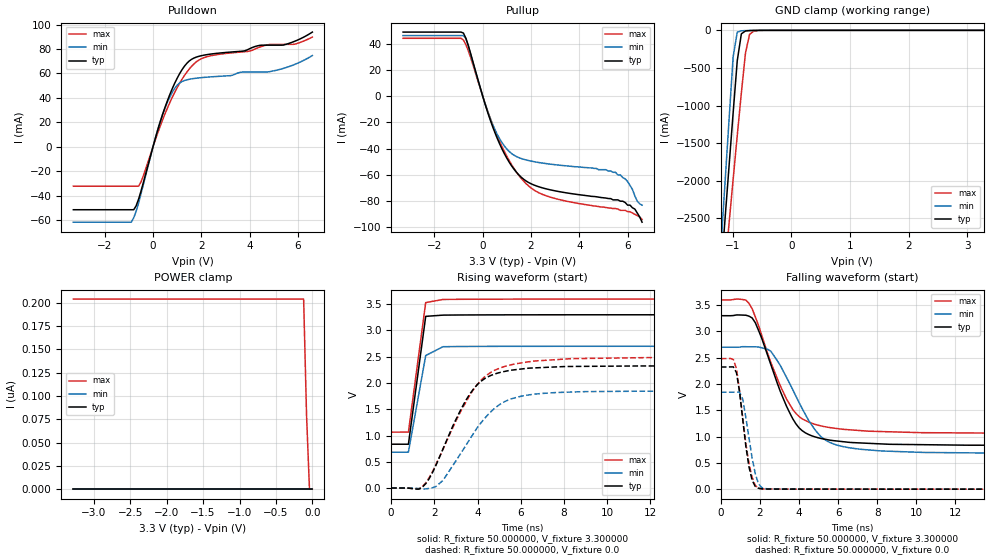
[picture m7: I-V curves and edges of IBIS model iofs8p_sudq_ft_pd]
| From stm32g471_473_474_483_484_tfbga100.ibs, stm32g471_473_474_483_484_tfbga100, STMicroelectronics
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|   Model iofs8p_sudq_ft_pd
[Model]  iofs8p_sudq_ft_pd
Model_type I/O
Polarity   Non-Inverting
Enable   Active-Low
Vinl =   0.990000V
Vinh =   2.310000V
Vmeas =  1.650000V
Cref =   30.000000pF
Rref =   100.000000M
Vref =   0.0V
C_comp   2.036400pF   1.984000pF   2.082300pF
[Temperature Range]   25.000000   -40.000000   0.125000k
[Pullup Reference]   3.300000V   2.700000V   3.600000V
[Pulldown Reference]   0.0V   0.0V   0.0V
[POWER Clamp Reference]   3.300000V   2.700000V   3.600000V
[GND Clamp Reference]   0.0V   0.0V   0.0V
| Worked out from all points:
|   slope of the pulldown table from 0 to 0.495 V, typ, clamps not added: 15.4 ohm
|   slope of the pullup table from 0 to 0.495 V, typ, clamps not added: 18.1 ohm
|   GND clamp passes 1 mA (typ) near -0.60 V on its own axis
|   rising waveform, R_fixture 50.000000, V_fixture 3.300000: 20-80 % time 486ps typ, 526ps min, 494ps max; typ from 0.835 V to 3.3 V
|   rising waveform, R_fixture 50.000000, V_fixture 0.0: 20-80 % time 1.66ns typ, 1.92ns min, 1.89ns max; typ from 0 V to 2.32 V
|   falling waveform, R_fixture 50.000000, V_fixture 3.300000: 20-80 % time 1.55ns typ, 1.79ns min, 1.64ns max; typ from 3.3 V to 0.835 V
|   falling waveform, R_fixture 50.000000, V_fixture 0.0: 20-80 % time 470ps typ, 493ps min, 522ps max; typ from 2.32 V to 0 V
[Pulldown]
|Voltage   I(typ)   I(min)   I(max)
-3.3V     -51.62mA   -61.83mA   -32.32mA
-900mV    -51.62mA   -61.83mA   -32.32mA
-800mV    -51.62mA   -58.24mA   -32.32mA
-500mV    -36.51mA   -38.71mA   -28.96mA
400mV     26.66mA    26.58mA    22.18mA
800mV     47.72mA    44.74mA    40.6mA
1.1V      59.79mA    52.18mA    51.93mA
1.5V      70.22mA    55.24mA    63.66mA
2.1V      74.97mA    56.75mA    72.88mA
4.9V      83.19mA    61.75mA    83.83mA
5.9V      86.64mA    67.67mA    84.15mA
6.6V      93.9mA     74.68mA    89.84mA
[Pullup]
|Voltage   I(typ)   I(min)   I(max)
-3.3V     48.87mA    46.22mA    44.14mA
-800mV    48.12mA    46.22mA    42.77mA
-600mV    38.73mA    38.61mA    34.8mA
200mV     -11.99mA   -11.47mA   -11.05mA
600mV     -32.08mA   -29.08mA   -30.29mA
1.3V      -55.75mA   -45.02mA   -55.23mA
2V        -66.7mA    -49.43mA   -69.91mA
3.2V      -72.82mA   -52.6mA    -78.89mA
5.5V      -79mA      -58mA      -85.6mA
6V        -83mA      -65mA      -88mA
6.3V      -86mA      -76mA      -90mA
6.6V      -96mA      -83mA      -94mA
[GND_clamp]
|Voltage   I(typ)   I(min)   I(max)
-3.3V     -9.812A    -9.822A    -9.937A
-1.2V     -3.251A    -2.905A    -3.763A
-1.13V    -2.527A    -2.046A    -3.165A
-1.06V    -1.808A    -1.191A    -2.57A
-990mV    -1.097A    -352.7mA   -1.979A
-920mV    -404.2mA   -25.09mA   -1.398A
-850mV    -46.54mA   -6.516mA   -832.3mA
-780mV    -8.509mA   -3.59mA    -302.4mA
-710mV    -3.395mA   -1.728mA   -53.82mA
-640mV    -1.602mA   -565.6uA   -11.73mA
-360mV    -11.48uA   -7.86uA    -95.15uA
3.28V     87.11uA    57.76uA    110.6uA
[POWER_clamp]
|Voltage   I(typ)   I(min)   I(max)
-3.28V    0A         0A         204.1nA
-120mV    0A         0A         204.1nA
-80mV     0A         0A         79.47nA
-40mV     0A         0A         0A
0V        0A         0A         0A
[Ramp]
| variable   typ   min   max
dV/dt_r  1.39416/1.65295n   1.10664/1.91106n   1.48986/1.88847n
dV/dt_f  1.47851/1.54452n   1.20975/1.78516n   1.52064/1.64136n
R_load = 50.000000
[Rising Waveform]
R_fixture= 50.000000
V_fixture= 3.300000
V_fixture_min= 2.700000
V_fixture_max= 3.600000
|time   V(typ)   V(min)   V(max)
0s        834.7mV    683mV      1.064V
800.8ps   834.1mV    682.6mV    1.065V
1.602ns   3.269V     2.523V     3.532V
2.402ns   3.293V     2.691V     3.591V
79.28ns   3.299V     2.699V     3.598V
[Rising Waveform]
R_fixture= 50.000000
V_fixture= 0.0
V_fixture_min= 0.0
V_fixture_max= 0.0
|time   V(typ)   V(min)   V(max)
0s        467.6nV    1.94uV     32.32nV
1.281ns   -21.71mV   -9.578mV   -16.11mV
1.602ns   82.39mV    -16.2mV    97.29mV
2.402ns   745.2mV    146.1mV    737.2mV
3.363ns   1.599V     748.8mV    1.563V
4.164ns   2.034V     1.243V     2.051V
5.125ns   2.209V     1.616V     2.297V
6.567ns   2.286V     1.784V     2.416V
11.85ns   2.324V     1.844V     2.483V
79.76ns   2.323V     1.844V     2.483V
[Falling Waveform]
R_fixture= 50.000000
V_fixture= 3.300000
V_fixture_min= 2.700000
V_fixture_max= 3.600000
|time   V(typ)   V(min)   V(max)
0s        3.299V     2.699V     3.598V
1.441ns   3.29V      2.708V     3.533V
1.762ns   3.168V     2.708V     3.28V
2.563ns   2.366V     2.622V     2.408V
3.363ns   1.576V     2.125V     1.713V
4.004ns   1.166V     1.648V     1.381V
5.125ns   963.8mV    997.6mV    1.203V
6.246ns   903.5mV    810.3mV    1.139V
14.57ns   835.6mV    684.3mV    1.065V
79.76ns   834.7mV    683mV      1.064V
[Falling Waveform]
R_fixture= 50.000000
V_fixture= 0.0
V_fixture_min= 0.0
V_fixture_max= 0.0
|time   V(typ)   V(min)   V(max)
0s        2.323V     1.844V     2.483V
640.6ps   2.325V     1.844V     2.467V
800.8ps   2.215V     1.846V     2.29V
961ps     1.845V     1.845V     1.869V
1.121ns   1.325V     1.711V     1.358V
1.441ns   423.7mV    974.8mV    489.4mV
1.602ns   169mV      591.1mV    227.2mV
1.922ns   18.14mV    106.8mV    17.22mV
2.082ns   7.867mV    32.78mV    6.538mV
79.76ns   467.6nV    1.94uV     32.32nV
